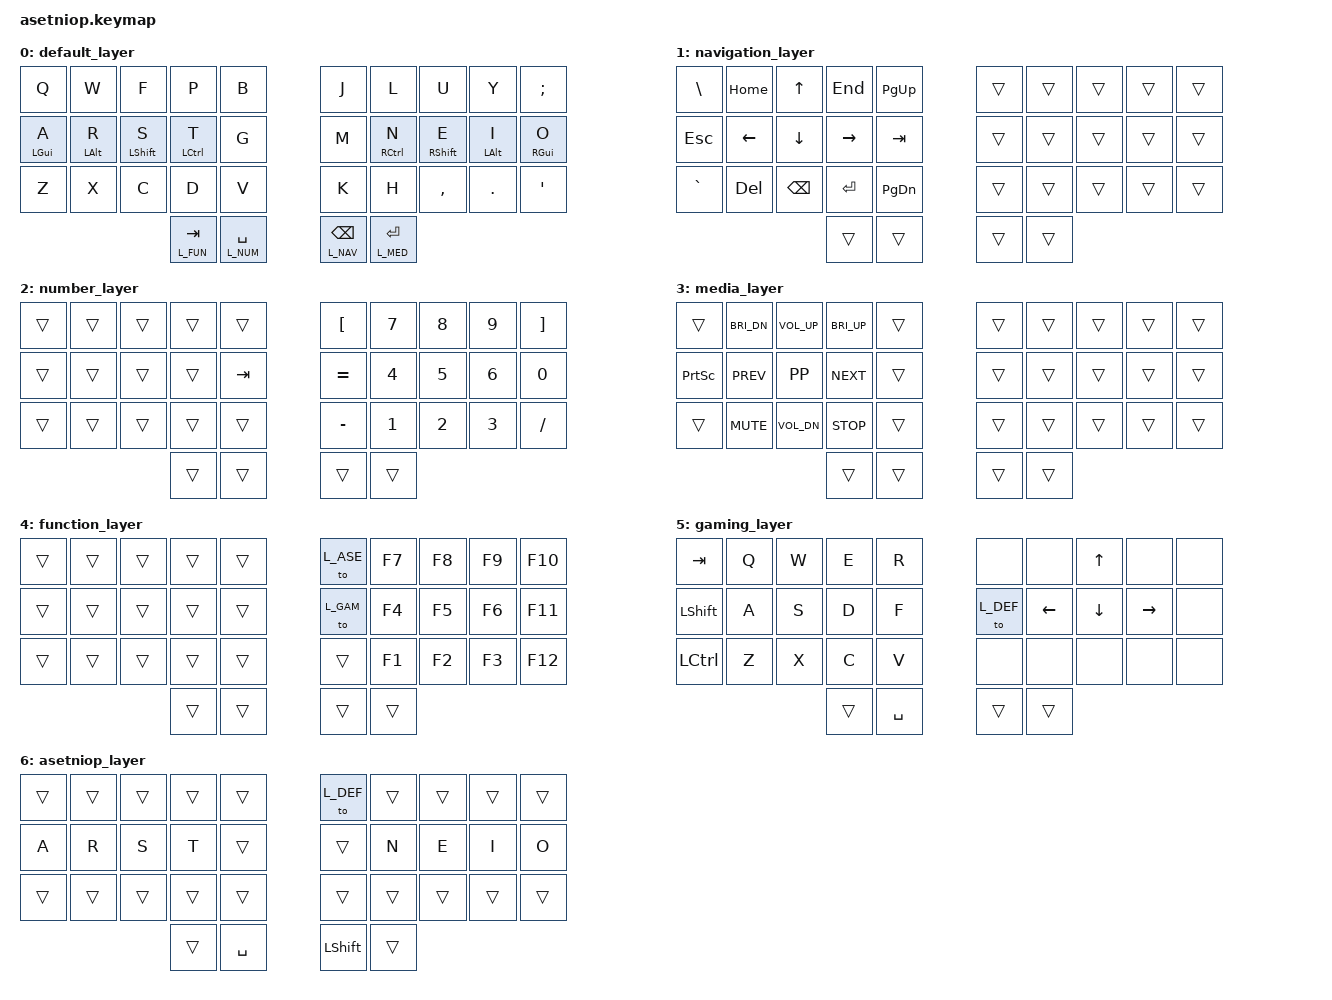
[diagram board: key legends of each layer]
/*
 * Copyright (c) 2020 The ZMK Contributors
 *
 * SPDX-License-Identifier: MIT
 */

#include <behaviors.dtsi>
#include <dt-bindings/zmk/bt.h>
#include <dt-bindings/zmk/keys.h>

// GENERAL KEYS
#define GEN_NONE &none
#define GEN_TRAN &trans

// DEFAULT LAYER

#define L_DEF 0

#define DEF_Q &kp Q
#define DEF_W &kp W
#define DEF_F &kp F
#define DEF_P &kp P
#define DEF_B &kp B
                        
#define DEF_A &mt LGUI A 
#define DEF_R &mt LALT R 
#define DEF_S &mt LSHIFT S
#define DEF_T &mt LCTRL T 
#define DEF_G &kp G
        
#define DEF_Z &kp Z
#define DEF_X &kp X
#define DEF_C &kp C
#define DEF_D &kp D
#define DEF_V &kp V
                        

#define DEF_J &kp J
#define DEF_L &kp L
#define DEF_U &kp U
#define DEF_Y &kp Y
#define DEF_SEMI &kp SEMI

#define DEF_K &kp K
#define DEF_H &kp H
#define DEF_COMA &kp COMMA
#define DEF_DOT &kp DOT
#define DEF_QUOT &kp SQT

#define DEF_M &kp M
#define DEF_N &mt RCTL N
#define DEF_E &mt RSHIFT E
#define DEF_I &mt LALT I 
#define DEF_O &mt RGUI O

#define DEF_TAB &lt L_FUN TAB
#define DEF_SPC &lt L_NUM SPC
#define DEF_BSPC &lt L_NAV BSPC
#define DEF_RET &lt L_MED RET

// NAVIGATION LAYER
#define L_NAV 1

#define NAV_BSLH &kp BSLH
#define NAV_HOME &kp HOME
#define NAV_UP &kp UP
#define NAV_END &kp END
#define NAV_PGUP &kp PG_UP

#define NAV_ESC &kp ESC
#define NAV_LEFT &kp LEFT
#define NAV_DOWN &kp DOWN
#define NAV_RGHT &kp RIGHT
#define NAV_TAB &kp TAB

#define NAV_GRV &kp GRAVE
#define NAV_DEL &kp DEL
#define NAV_BSPC &kp BSPC
#define NAV_RET &kp RET
#define NAV_PGDN &kp PG_DN

// NUMBER LAYER
#define L_NUM 2

#define NUM_LBKT &kp LBKT
#define NUM_N7 &kp N7 
#define NUM_N8 &kp N8
#define NUM_N9 &kp N9
#define NUM_RBKT &kp RBKT 

#define NUM_EQUL &kp EQUAL
#define NUM_N4 &kp N4
#define NUM_N5 &kp N5
#define NUM_N6 &kp N6
#define NUM_N0 &kp N0

#define NUM_MIN &kp MINUS
#define NUM_N1 &kp N1
#define NUM_N2 &kp N2
#define NUM_N3 &kp N3
#define NUM_FSLH &kp FSLH

// MEDIA LAYER
#define L_MED 3

#define MED_BRID &kp C_BRI_DN
#define MED_VOLU &kp C_VOL_UP
#define MED_BRIU &kp C_BRI_UP


#define MED_PRNT &kp PSCRN
#define MED_PREV &kp C_PREV
#define MED_PLAY &kp K_PP
#define MED_NEXT &kp C_NEXT

#define MED_MUTE &kp C_MUTE
#define MED_VOLD &kp C_VOL_DN
#define MED_STOP &kp C_STOP

// FUNCTION LAYER
#define L_FUN 4

#define FUN_ASE &to L_ASE
#define FUN_F7 &kp F7
#define FUN_F8 &kp F8
#define FUN_F9 &kp F9
#define FUN_F10 &kp F10

#define FUN_GAME &to L_GAM
#define FUN_F4 &kp F4
#define FUN_F5 &kp F5
#define FUN_F6 &kp F6
#define FUN_F11 &kp F11

#define FUN_F1 &kp F1
#define FUN_F2 &kp F2
#define FUN_F3 &kp F3
#define FUN_F13 &kp F12

// GAMING LAYER
#define L_GAM 5

#define GAM_TAB &kp TAB
#define GAM_Q &kp Q
#define GAM_W &kp W
#define GAM_E &kp E
#define GAM_R &kp R

#define GAM_LSFT &kp LSHIFT
#define GAM_A &kp A
#define GAM_S &kp S
#define GAM_D &kp D
#define GAM_F &kp F

#define GAM_LCTL &kp LCTRL
#define GAM_Z &kp Z
#define GAM_X &kp X
#define GAM_C &kp C
#define GAM_V &kp V


#define GAM_UP &kp UP

#define GAM_DEF &to L_DEF
#define GAM_LEFT &kp LEFT
#define GAM_DOWN &kp DOWN
#define GAM_RGHT &kp RIGHT

#define GAM_ESC &kp ESC
#define GAM_SPC &kp SPACE

// ASETNIOP LAYER
#define L_ASE 6

#define ASE_DEF &to L_DEF

#define ASE_A &kp A
#define ASE_R &kp R
#define ASE_S &kp S
#define ASE_T &kp T

#define ASE_N &kp N
#define ASE_E &kp E
#define ASE_I &kp I
#define ASE_O &kp O

#define ASE_SPC &kp SPC
#define ASE_LSFT &kp LSHIFT

&mt {
  flavor = "tap-preferred";
  tapping_term_ms = <200>;
};

&lt {
  flavor = "tap-preferred";
  tapping_term_ms = <200>;
};

&caps_word {
    continue-list = <UNDERSCORE MINUS>;
};

/ {
  combos {
    compatible = "zmk,combos";

    combo_caps {
      timeout-ms = <50>;
      key-positions = <3 4>;
      bindings = <&caps_word>;
    };

    combo_bspc {
      timeout-ms = <50>;
      key-positions = <15 16>;
      bindings = <&kp BSPC>;
    };

    combo_ret {
      timeout-ms = <50>;
      key-positions = <13 14>;
      bindings = <&kp RET>;
    };

    combo_esc {
      timeout-ms = <50>;
      key-positions = <23 24>;
      bindings = <&kp ESC>;
    };

    combo_del {
      timeout-ms = <50>;
      key-positions = <25 26>;
      bindings = <&kp DEL>;
    };

    combo_bootloader {
      timeout-ms = <50>;
      key-positions = <0 20>;
      bindings = <&bootloader>;
    };

    combo_btclr {
      timeout-ms = <50>;
      key-positions = <2 22>;
      bindings = <&bt BT_CLR>;
    };

    combo_fn {
      timeout-ms = <50>;
      key-positions = <30 31>;
      bindings = <&mo L_FUN>;
    };

    combo_media {
      timeout-ms = <50>;
      key-positions = <32 33>;
      bindings = <&mo L_MED>;
    };

    combo_b {
      timeout-ms = <50>;
      layers = <L_ASE>;
      key-positions = <13 16>;
      bindings = <&kp B>;
    };

    combo_j {
      timeout-ms = <50>;
      layers = <L_ASE>;
      key-positions = <10 16>;
      bindings = <&kp J>;
    };
    
    combo_f {
      timeout-ms = <50>;
      layers = <L_ASE>;
      key-positions = <11 12>;
      bindings = <&kp F>;
    };

    combo_g {
      timeout-ms = <50>;
      layers = <L_ASE>;
      key-positions = <13 18>;
      bindings = <&kp G>;
    };

    combo_p {
      timeout-ms = <50>;
      layers = <L_ASE>;
      key-positions = <10 13>;
      bindings = <&kp P>;
    };

    combo_l {
      timeout-ms = <50>;
      layers = <L_ASE>;
      key-positions = <16 19>;
      bindings = <&kp L>;
    };

    combo_z {
      timeout-ms = <50>;
      layers = <L_ASE>;
      key-positions = <11 17>;
      bindings = <&kp Z>;
    };

    combo_k {
      timeout-ms = <50>;
      layers = <L_ASE>;
      key-positions = <11 16>;
      bindings = <&kp K>;
    };

    combo_u {
      timeout-ms = <50>;
      layers = <L_ASE>;
      key-positions = <17 18>;
      bindings = <&kp U>;
    };

    combo_w {
      timeout-ms = <50>;
      layers = <L_ASE>;
      key-positions = <10 11>;
      bindings = <&kp W>;
    };

    combo_d {
      timeout-ms = <50>;
      layers = <L_ASE>;
      key-positions = <12 13>;
      bindings = <&kp D>;
    };

    combo_h {
      timeout-ms = <50>;
      layers = <L_ASE>;
      key-positions = <16 17>;
      bindings = <&kp H>;
    };

    combo_c {
      timeout-ms = <50>;
      layers = <L_ASE>;
      key-positions = <11 13>;
      bindings = <&kp C>;
    };

    combo_y {
      timeout-ms = <50>;
      layers = <L_ASE>;
      key-positions = <16 18>;
      bindings = <&kp Y>;
    };

    combo_x {
      timeout-ms = <50>;
      layers = <L_ASE>;
      key-positions = <10 12>;
      bindings = <&kp X>;
    };

    combo_v {
      timeout-ms = <50>;
      layers = <L_ASE>;
      key-positions = <13 17>;
      bindings = <&kp V>;
    };

    combo_m {
      timeout-ms = <50>;
      layers = <L_ASE>;
      key-positions = <12 16>;
      bindings = <&kp M>;
    };

    combo_q {
      timeout-ms = <50>;
      layers = <L_ASE>;
      key-positions = <10 17>;
      bindings = <&kp Q>;
    };

    combo_taba {
      timeout-ms = <50>;
      layers = <L_ASE>;
      key-positions = <10 11 12 13>;
      bindings = <&kp TAB>;
    };

    combo_reta {
      timeout-ms = <50>;
      layers = <L_ASE>;
      key-positions = <16 17 18 19>;
      bindings = <&kp RET>;
    };

    combo_bspca {
      timeout-ms = <50>;
      layers = <L_ASE>;
      key-positions = <10 11 12 13 16 17 18 19>;
      bindings = <&kp BSPC>;
    };
  };

  keymap {
    compatible = "zmk,keymap";

    default_layer {
      bindings = <
        DEF_Q    DEF_W    DEF_F    DEF_P    DEF_B          DEF_J    DEF_L    DEF_U    DEF_Y    DEF_SEMI
        DEF_A    DEF_R    DEF_S    DEF_T    DEF_G          DEF_M    DEF_N    DEF_E    DEF_I    DEF_O
        DEF_Z    DEF_X    DEF_C    DEF_D    DEF_V          DEF_K    DEF_H    DEF_COMA DEF_DOT  DEF_QUOT
                                   DEF_TAB  DEF_SPC        DEF_BSPC  DEF_RET
      >;
    };

    navigation_layer {
      bindings = <
        NAV_BSLH NAV_HOME NAV_UP   NAV_END  NAV_PGUP       GEN_TRAN GEN_TRAN GEN_TRAN GEN_TRAN GEN_TRAN
        NAV_ESC  NAV_LEFT NAV_DOWN NAV_RGHT NAV_TAB        GEN_TRAN GEN_TRAN GEN_TRAN GEN_TRAN GEN_TRAN
        NAV_GRV  NAV_DEL  NAV_BSPC NAV_RET  NAV_PGDN       GEN_TRAN GEN_TRAN GEN_TRAN GEN_TRAN GEN_TRAN
                                   GEN_TRAN GEN_TRAN       GEN_TRAN GEN_TRAN
      >;
    };

    number_layer {
      bindings = <
        GEN_TRAN GEN_TRAN GEN_TRAN GEN_TRAN GEN_TRAN       NUM_LBKT NUM_N7    NUM_N8    NUM_N9    NUM_RBKT
        GEN_TRAN GEN_TRAN GEN_TRAN GEN_TRAN NAV_TAB        NUM_EQUL NUM_N4    NUM_N5    NUM_N6    NUM_N0
        GEN_TRAN GEN_TRAN GEN_TRAN GEN_TRAN GEN_TRAN       NUM_MIN  NUM_N1    NUM_N2    NUM_N3    NUM_FSLH
                                   GEN_TRAN GEN_TRAN       GEN_TRAN GEN_TRAN
      >;
    };
    media_layer {
      bindings = <
        GEN_TRAN MED_BRID MED_VOLU MED_BRIU GEN_TRAN       GEN_TRAN GEN_TRAN GEN_TRAN GEN_TRAN GEN_TRAN
        MED_PRNT MED_PREV MED_PLAY MED_NEXT GEN_TRAN       GEN_TRAN GEN_TRAN GEN_TRAN GEN_TRAN GEN_TRAN
        GEN_TRAN MED_MUTE MED_VOLD MED_STOP GEN_TRAN       GEN_TRAN GEN_TRAN GEN_TRAN GEN_TRAN GEN_TRAN
                                   GEN_TRAN GEN_TRAN       GEN_TRAN GEN_TRAN
      >;
    };

    function_layer {
      bindings = <
        GEN_TRAN GEN_TRAN GEN_TRAN GEN_TRAN GEN_TRAN       FUN_ASE  FUN_F7   FUN_F8   FUN_F9   FUN_F10
        GEN_TRAN GEN_TRAN GEN_TRAN GEN_TRAN GEN_TRAN       FUN_GAME FUN_F4   FUN_F5   FUN_F6   FUN_F11
        GEN_TRAN GEN_TRAN GEN_TRAN GEN_TRAN GEN_TRAN       GEN_TRAN FUN_F1   FUN_F2   FUN_F3   FUN_F13
                                   GEN_TRAN GEN_TRAN       GEN_TRAN GEN_TRAN
      >;
    };

    gaming_layer {
      bindings = <
        GAM_TAB  GAM_Q    GAM_W    GAM_E    GAM_R       GEN_NONE GEN_NONE GAM_UP   GEN_NONE GEN_NONE
        GAM_LSFT GAM_A    GAM_S    GAM_D    GAM_F       GAM_DEF  GAM_LEFT GAM_DOWN GAM_RGHT GEN_NONE
        GAM_LCTL GAM_Z    GAM_X    GAM_C    GAM_V       GEN_NONE GEN_NONE GEN_NONE GEN_NONE GEN_NONE
                                   GEN_TRAN GAM_SPC     GEN_TRAN GEN_TRAN
      >;
    };

    asetniop_layer {
      bindings = <
        GEN_TRAN GEN_TRAN GEN_TRAN GEN_TRAN GEN_TRAN       ASE_DEF  GEN_TRAN GEN_TRAN GEN_TRAN GEN_TRAN
        ASE_A    ASE_R    ASE_S    ASE_T    GEN_TRAN       GEN_TRAN ASE_N    ASE_E    ASE_I    ASE_O
        GEN_TRAN GEN_TRAN GEN_TRAN GEN_TRAN GEN_TRAN       GEN_TRAN GEN_TRAN GEN_TRAN GEN_TRAN GEN_TRAN
                                   GEN_TRAN ASE_SPC        ASE_LSFT GEN_TRAN
      >;
    };

    // empty_layer {
    //   bindings = <
    //     GEN_TRAN GEN_TRAN GEN_TRAN GEN_TRAN GEN_TRAN       GEN_TRAN GEN_TRAN GEN_TRAN GEN_TRAN GEN_TRAN
    //     GEN_TRAN GEN_TRAN GEN_TRAN GEN_TRAN GEN_TRAN       GEN_TRAN GEN_TRAN GEN_TRAN GEN_TRAN GEN_TRAN
    //     GEN_TRAN GEN_TRAN GEN_TRAN GEN_TRAN GEN_TRAN       GEN_TRAN GEN_TRAN GEN_TRAN GEN_TRAN GEN_TRAN
    //                                GEN_TRAN GEN_TRAN       GEN_TRAN GEN_TRAN
    //   >;
    // };

  };
};
